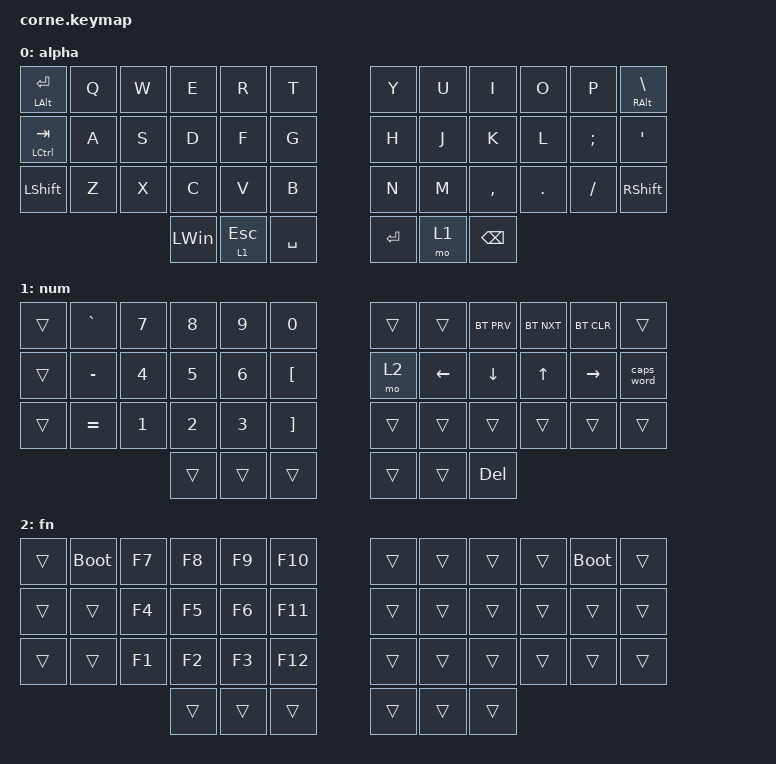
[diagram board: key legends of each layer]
/*
 * Copyright (c) 2020 The ZMK Contributors
 *
 * SPDX-License-Identifier: MIT
 */

#include <behaviors.dtsi>
#include <dt-bindings/zmk/bt.h>
#include <dt-bindings/zmk/keys.h>

/ {
    combos { compatible = "zmk,combos"; };

    keymap {
        compatible = "zmk,keymap";

        alpha {
            // -----------------------------------------------------------------------------------------
            // |  TAB |  Q  |  W  |  F  |  P  |  G  |   |  J  |  L   |  U  |  Y  |  ;  | BKSP |
            // | CTRL |  A  |  R  |  S  |  T  |  D  |   |  H  |  N   |  E  |  I  |  O  |  '   |
            // | SHFT |  Z  |  X  |  C  |  V  |  B  |   |  K  |  M   |  ,  |  .  |  /  | ESC  |
            //                    | GUI | LWR | SPC |   | ENT | RSE  | ALT |

            bindings = <
&mt LEFT_ALT ENTER  &kp Q  &kp W  &kp E         &kp R      &kp T        &kp Y    &kp U  &kp I          &kp O    &kp P          &mt RALT BACKSLASH
&mt LCTRL TAB       &kp A  &kp S  &kp D         &kp F      &kp G        &kp H    &kp J  &kp K          &kp L    &kp SEMICOLON  &kp SQT
&kp LSHFT           &kp Z  &kp X  &kp C         &kp V      &kp B        &kp N    &kp M  &kp COMMA      &kp DOT  &kp FSLH       &kp RIGHT_SHIFT
                                  &kp LEFT_WIN  &lt 1 ESC  &kp SPACE    &kp RET  &mo 1  &kp BACKSPACE
            >;
        };

        num {
            // -----------------------------------------------------------------------------------------
            // |  TAB |  1  |  2  |  3  |  4  |  5  |   |  6  |  7  |  8  |  9  |  0  | BKSP |
            // | BTCLR| BT1 | BT2 | BT3 | BT4 | BT5 |   | LFT | DWN |  UP | RGT |     |      |
            // | SHFT |     |     |     |     |     |   |     |     |     |     |     |      |
            //                    | GUI |     | SPC |   | ENT |     | ALT |

            bindings = <
&trans  &kp GRAVE  &kp NUMBER_7  &kp N8        &kp NUMBER_9  &kp N0      &trans  &trans    &bt BT_PRV  &bt BT_NXT  &bt BT_CLR  &trans
&trans  &kp MINUS  &kp N4        &kp NUMBER_5  &kp N6        &kp LBKT    &mo 2   &kp LEFT  &kp DOWN    &kp UP      &kp RIGHT   &caps_word
&trans  &kp EQUAL  &kp NUMBER_1  &kp N2        &kp N3        &kp RBKT    &trans  &trans    &trans      &trans      &trans      &trans
                                 &trans        &trans        &trans      &trans  &trans    &kp DELETE
            >;
        };

        fn {
            bindings = <
&trans  &bootloader  &kp F7  &kp F8  &kp F9  &kp F10    &trans  &trans  &trans  &trans  &bootloader  &trans
&trans  &trans       &kp F4  &kp F5  &kp F6  &kp F11    &trans  &trans  &trans  &trans  &trans       &trans
&trans  &trans       &kp F1  &kp F2  &kp F3  &kp F12    &trans  &trans  &trans  &trans  &trans       &trans
                             &trans  &trans  &trans     &trans  &trans  &trans
            >;
        };
    };
};
